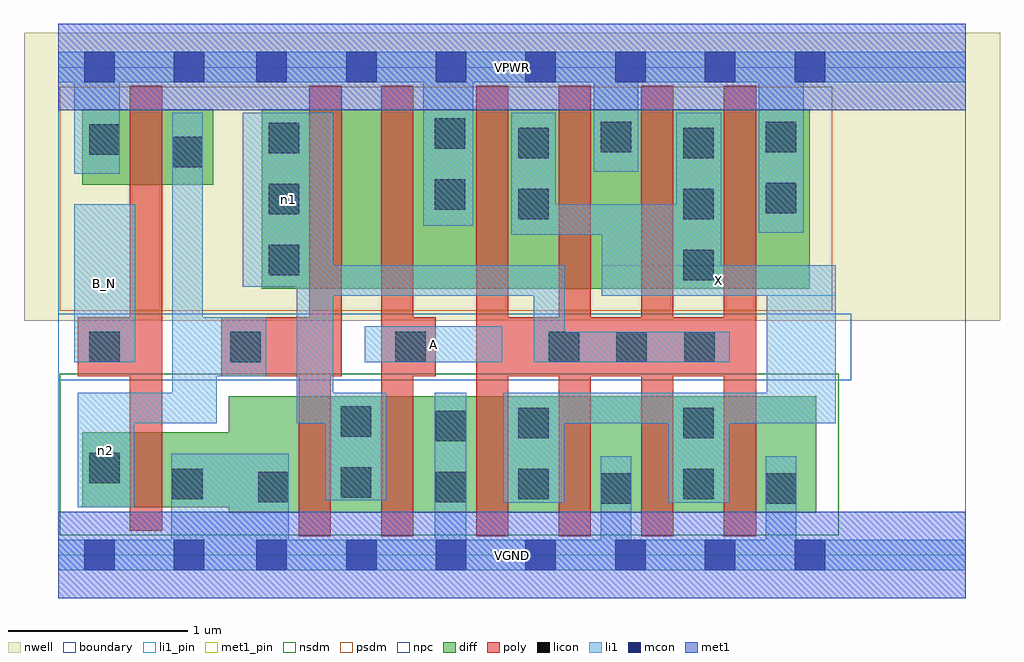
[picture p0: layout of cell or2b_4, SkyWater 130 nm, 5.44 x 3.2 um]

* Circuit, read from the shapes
.subckt or2b_4 A B_N VGND VPWR X n1 n2
XM1 VGND B_N n2 VSUBS sky130_fd_pr__nfet_01v8 w=0.42 l=0.18
XM2 n1 n2 VGND VSUBS sky130_fd_pr__nfet_01v8 w=0.65 l=0.18
XM3 VGND A n1 VSUBS sky130_fd_pr__nfet_01v8 w=0.65 l=0.18
XM4 X n1 VGND VSUBS sky130_fd_pr__nfet_01v8 w=0.65 l=0.18 m=4
XM5 n2 B_N VPWR n3 sky130_fd_pr__pfet_01v8 w=0.42 l=0.18
XM6 n4 n2 n1 n3 sky130_fd_pr__pfet_01v8 w=1 l=0.18
XM7 VPWR A n4 n3 sky130_fd_pr__pfet_01v8 w=1 l=0.18
XM8 X n1 VPWR n3 sky130_fd_pr__pfet_01v8 w=1 l=0.18 m=4
.ends

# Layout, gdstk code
import gdstk
lib = gdstk.Library(unit=1e-6, precision=1e-09)
def R(c, l, rs):  # rectangles x0, y0, x1, y1
    for r in rs: c.add(gdstk.rectangle(r[:2], r[2:], *l))
def A(c, l, x, y, w, h, nx, ny, dx, dy):  # array of equal rectangles
    R(c, l, [(x+i*dx, y+j*dy, x+i*dx+w, y+j*dy+h) for i in range(nx) for j in range(ny)])
nwell = (64, 20)
diff = (65, 20)
poly = (66, 20)
licon = (66, 44)
li1_pin = (67, 16)
li1 = (67, 20)
mcon = (67, 44)
met1_pin = (68, 16)
met1 = (68, 20)
nsdm = (93, 44)
psdm = (94, 20)
npc = (95, 20)
boundary = (235, 4)

or2b_4 = lib.new_cell('or2b_4')
R(or2b_4, nwell, [(-0.19,1.305,5.25,2.91), (0,1.305,5.06,2.91)])
R(or2b_4, diff, [(0.95,0.235,4.225,0.885), (0.135,0.265,4.225,0.685), (1.135,1.485,4.19,2.485), (0.135,2.065,0.865,2.485)])
A(or2b_4, poly, 2.33, 0.105, 0.18, 2.51, 4, 1, 0.46, 0)
R(or2b_4, poly, [(1.34,0.105,1.52,1.325), (1.8,0.105,1.98,2.615), (0.4,0.135,0.58,2.615), (0.11,0.995,0.58,1.325), (0.91,0.995,1.58,1.325), (1.4,0.995,1.58,2.615), (1.8,0.995,2.105,1.325), (2.33,0.995,3.89,1.325)])
A(or2b_4, licon, 3.485, 1.53, 0.17, 0.17, 1, 3, 0, 0.34)
A(or2b_4, licon, 1.175, 1.56, 0.17, 0.17, 1, 3, 0, 0.34)
R(or2b_4, licon, [(3.025,0.285,3.195,0.455), (3.945,0.285,4.115,0.455), (1.115,0.295,1.285,0.465), (2.105,0.295,2.275,0.465), (0.635,0.31,0.805,0.48), (2.565,0.31,2.735,0.48), (3.485,0.31,3.655,0.48), (1.575,0.32,1.745,0.49), (0.175,0.4,0.345,0.57), (2.105,0.635,2.275,0.805), (2.565,0.65,2.735,0.82), (3.485,0.65,3.655,0.82), (1.575,0.66,1.745,0.83), (0.175,1.075,0.345,1.245), (0.96,1.075,1.13,1.245), (1.88,1.075,2.05,1.245), (2.735,1.075,2.905,1.245), (3.11,1.075,3.28,1.245), (3.49,1.075,3.66,1.245), (2.565,1.87,2.735,2.04), (3.945,1.905,4.115,2.075), (2.1,1.925,2.27,2.095), (0.635,2.16,0.805,2.33), (2.565,2.21,2.735,2.38), (0.175,2.23,0.345,2.4), (3.025,2.245,3.195,2.415), (3.945,2.245,4.115,2.415), (2.1,2.265,2.27,2.435)])
R(or2b_4, li1_pin, [(0.09,1.075,0.43,1.955), (1.71,1.075,2.475,1.275), (3.03,1.445,4.335,1.615)])
R(or2b_4, li1, [(0,-0.085,5.06,0.085), (0.63,-0.085,1.285,0.565), (2.1,-0.085,2.275,0.905), (3.025,-0.085,3.195,0.55), (3.945,-0.085,4.115,0.55), (0.11,0.265,0.425,0.905), (2.48,0.29,2.82,0.905), (3.4,0.29,3.74,0.905), (1.49,0.305,1.83,0.905), (0.11,0.735,0.885,0.905), (0.635,0.735,0.805,2.465), (0.635,0.735,0.885,1.325), (1.33,0.735,1.535,2.465), (2.48,0.735,4.335,0.905), (3.95,0.735,4.335,1.615), (0.635,0.995,1.16,1.325), (0.09,1.075,0.43,1.955), (1.71,1.075,2.475,1.275), (2.65,1.075,3.745,1.245), (2.65,1.075,2.825,1.615), (1.33,1.445,2.825,1.615), (3.03,1.445,3.445,1.955), (3.03,1.445,4.335,1.615), (3.445,1.445,3.695,2.465), (1.03,1.495,1.535,2.465), (2.525,1.785,2.775,2.465), (2.525,1.785,3.695,1.955), (3.905,1.795,4.155,2.805), (2.035,1.835,2.315,2.805), (0.09,2.125,0.345,2.805), (2.985,2.135,3.235,2.805), (0,2.635,5.06,2.805)])
A(or2b_4, mcon, 1.105, -0.085, 0.17, 0.17, 7, 2, 0.5, 2.72)
R(or2b_4, mcon, [(0.145,-0.085,0.315,0.085), (0.645,-0.085,0.815,0.085), (0.145,2.635,0.315,2.805), (0.645,2.635,0.815,2.805)])
R(or2b_4, met1_pin, [(0,-0.24,5.06,0.24), (0,2.48,5.06,2.96)])
R(or2b_4, met1, [(0,-0.24,5.06,0.24), (0,2.48,5.06,2.96)])
R(or2b_4, nsdm, [(0.01,0.11,4.35,1.01)])
R(or2b_4, psdm, [(0.01,1.36,4.315,2.61)])
R(or2b_4, npc, [(0,0.975,4.42,1.345)])
R(or2b_4, boundary, [(0,0,5.06,2.72)])
or2b_4.add(gdstk.Label('A', (2.092,1.175), layer=67, texttype=5))
or2b_4.add(gdstk.Label('B_N', (0.26,1.515), layer=67, texttype=5))
or2b_4.add(gdstk.Label('X', (3.682,1.53), layer=67, texttype=5))
or2b_4.add(gdstk.Label('n2', (0.267,0.585), layer=67, texttype=5))
or2b_4.add(gdstk.Label('n1', (1.282,1.98), layer=67, texttype=5))
or2b_4.add(gdstk.Label('VPWR', (2.53,2.72), layer=68, texttype=5))
or2b_4.add(gdstk.Label('VGND', (2.53,0), layer=68, texttype=5))
or2b_4.add(gdstk.Label('A', (2.092,1.175), layer=67, texttype=16))
or2b_4.add(gdstk.Label('B_N', (0.26,1.515), layer=67, texttype=16))
or2b_4.add(gdstk.Label('X', (3.682,1.53), layer=67, texttype=16))
or2b_4.add(gdstk.Label('VPWR', (2.53,2.72), layer=68, texttype=16))
or2b_4.add(gdstk.Label('VGND', (2.53,0), layer=68, texttype=16))

lib.write_gds('or2b_4.gds')
